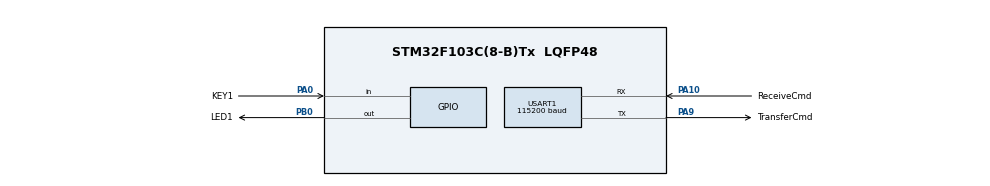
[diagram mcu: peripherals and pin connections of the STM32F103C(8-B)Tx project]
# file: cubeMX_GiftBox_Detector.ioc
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Mcu.Family=STM32F1
Mcu.Name=STM32F103C(8-B)Tx
Mcu.Package=LQFP48
NVIC.PriorityGroup=NVIC_PRIORITYGROUP_4
NVIC.USART1_IRQn=true\:0\:0\:false\:false\:true\:true\:true
PA0-WKUP.GPIO_Label=KEY1
PA0-WKUP.GPIO_PuPd=GPIO_PULLDOWN
PA0-WKUP.Signal=GPIO_Input
PA10.GPIO_Label=ReceiveCmd
PA10.Mode=Asynchronous
PA10.Signal=USART1_RX
PA9.GPIO_Label=TransferCmd
PA9.Mode=Asynchronous
PA9.Signal=USART1_TX
PB0.GPIO_Label=LED1
PB0.GPIO_PuPd=GPIO_PULLDOWN
PB0.GPIO_Speed=GPIO_SPEED_FREQ_HIGH
PB0.PinState=GPIO_PIN_SET
PB0.Signal=GPIO_Output
PD0-OSC_IN.Mode=HSE-External-Oscillator
PD0-OSC_IN.Signal=RCC_OSC_IN
PD1-OSC_OUT.Mode=HSE-External-Oscillator
PD1-OSC_OUT.Signal=RCC_OSC_OUT
ProjectManager.HeapSize=0x200
ProjectManager.StackSize=0x400
ProjectManager.TargetToolchain=Makefile
RCC.APB1Freq_Value=8000000
RCC.APB2Freq_Value=8000000
USART1.BaudRate=115200
USART1.VirtualMode=VM_ASYNC
VP_SYS_VS_ND.Mode=No_Debug
board=custom

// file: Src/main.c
/* USER CODE BEGIN Header */
/**
  ******************************************************************************
  * @file           : main.c
  * @brief          : Main program body
  ******************************************************************************
  * @attention
  *
  * <h2><center>&copy; Copyright (c) 2019 STMicroelectronics.
  * All rights reserved.</center></h2>
  *
  * This software component is licensed by ST under BSD 3-Clause license,
  * the "License"; You may not use this file except in compliance with the
  * License. You may obtain a copy of the License at:
  *                        opensource.org/licenses/BSD-3-Clause
  *
  ******************************************************************************
  */
/* USER CODE END Header */

#include "main.h"
#include "usart.h"
#include "gpio.h"

/* USER CODE BEGIN PD */
uint8_t rData[6];
uint8_t tData[] = "#0001:0002#\n\r";
uint8_t cmdOn[] = "OOOOOO\n\r";
uint8_t cmdOff[] = "XXXXXX\n\r";
uint8_t endline[] = "\n\r";
uint8_t a = 0;
uint8_t a_str[10];
int loaded = 0;

/* USER CODE END PD */

void SystemClock_Config(void);

/* USER CODE BEGIN 0 */

void SwitchOn(GPIO_TypeDef* LedPort, uint16_t LedPin)
{
  HAL_GPIO_WritePin(LedPort,LedPin,1);
}

void SwitchOff(GPIO_TypeDef* LedPort, uint16_t LedPin)
{
  HAL_GPIO_WritePin(LedPort,LedPin,0);
}

void PowerOn()
{
  SwitchOn(LED1_GPIO_Port, LED1_Pin);
}

void PowerOff()
{
  SwitchOff(LED1_GPIO_Port, LED1_Pin);
}

void sendData(uint8_t* message)
{
  HAL_UART_Transmit(&huart1, message, sizeof(message), 1000);
  while(HAL_UART_GetState(&huart1) == HAL_UART_STATE_BUSY_TX);
}

int DetectorCMD(GPIO_TypeDef* KeyPort, uint16_t KeyPin)
{
  if(HAL_GPIO_ReadPin(KeyPort,KeyPin)){
    return 1;
  }
  else return 0;
}

/* USER CODE END 0 */

int main(void)
{

  /* MCU Configuration--------------------------------------------------------*/

  /* Reset of all peripherals, Initializes the Flash interface and the Systick. */
  HAL_Init();

  /* Configure the system clock */
  SystemClock_Config();

  /* Initialize all configured peripherals */
  MX_GPIO_Init();
  MX_USART1_UART_Init();

  /* Infinite loop */
  while (1)
  {

    /* USER CODE BEGIN 3 */
    while(!loaded){
      //发送地址
      HAL_UART_Transmit(&huart1, tData, sizeof(tData), 1000);
      while(HAL_UART_GetState(&huart1) == HAL_UART_STATE_BUSY_TX);

      //检测总控是否识别
      HAL_UART_Receive(&huart1, rData, sizeof(rData), 1000);
      while(HAL_UART_GetState(&huart1) == HAL_UART_STATE_BUSY_RX);
      if(rData[1] == 'R'){
        loaded = 1;
        PowerOff();
        break;
      }
    }

    //发送指令
    if(DetectorCMD(KEY1_GPIO_Port, KEY1_Pin)){
      for(int i = 10; i>=0; i--){
        HAL_UART_Transmit(&huart1, cmdOn, sizeof(cmdOn), 1000);
        while(HAL_UART_GetState(&huart1) == HAL_UART_STATE_BUSY_TX);
        SwitchOn(LED1_GPIO_Port, LED1_Pin);
      }
    }
    else{

      HAL_UART_Transmit(&huart1, cmdOff, sizeof(cmdOff), 1000);
      while(HAL_UART_GetState(&huart1) == HAL_UART_STATE_BUSY_TX);

      SwitchOff(LED1_GPIO_Port, LED1_Pin);
    }
    HAL_Delay(1000);
  }
  /* USER CODE END 3 */
}

void SystemClock_Config(void)
{
  RCC_OscInitTypeDef RCC_OscInitStruct = {0};
  RCC_ClkInitTypeDef RCC_ClkInitStruct = {0};

  /** Initializes the CPU, AHB and APB busses clocks
  */
  RCC_OscInitStruct.OscillatorType = RCC_OSCILLATORTYPE_HSI;
  RCC_OscInitStruct.HSIState = RCC_HSI_ON;
  RCC_OscInitStruct.HSICalibrationValue = RCC_HSICALIBRATION_DEFAULT;
  RCC_OscInitStruct.PLL.PLLState = RCC_PLL_NONE;
  if (HAL_RCC_OscConfig(&RCC_OscInitStruct) != HAL_OK)
  {
    Error_Handler();
  }
  /** Initializes the CPU, AHB and APB busses clocks
  */
  RCC_ClkInitStruct.ClockType = RCC_CLOCKTYPE_HCLK|RCC_CLOCKTYPE_SYSCLK
                              |RCC_CLOCKTYPE_PCLK1|RCC_CLOCKTYPE_PCLK2;
  RCC_ClkInitStruct.SYSCLKSource = RCC_SYSCLKSOURCE_HSI;
  RCC_ClkInitStruct.AHBCLKDivider = RCC_SYSCLK_DIV1;
  RCC_ClkInitStruct.APB1CLKDivider = RCC_HCLK_DIV1;
  RCC_ClkInitStruct.APB2CLKDivider = RCC_HCLK_DIV1;

  if (HAL_RCC_ClockConfig(&RCC_ClkInitStruct, FLASH_LATENCY_0) != HAL_OK)
  {
    Error_Handler();
  }
}

void Error_Handler(void)
{
}

/************************ (C) COPYRIGHT STMicroelectronics *****END OF FILE****/
